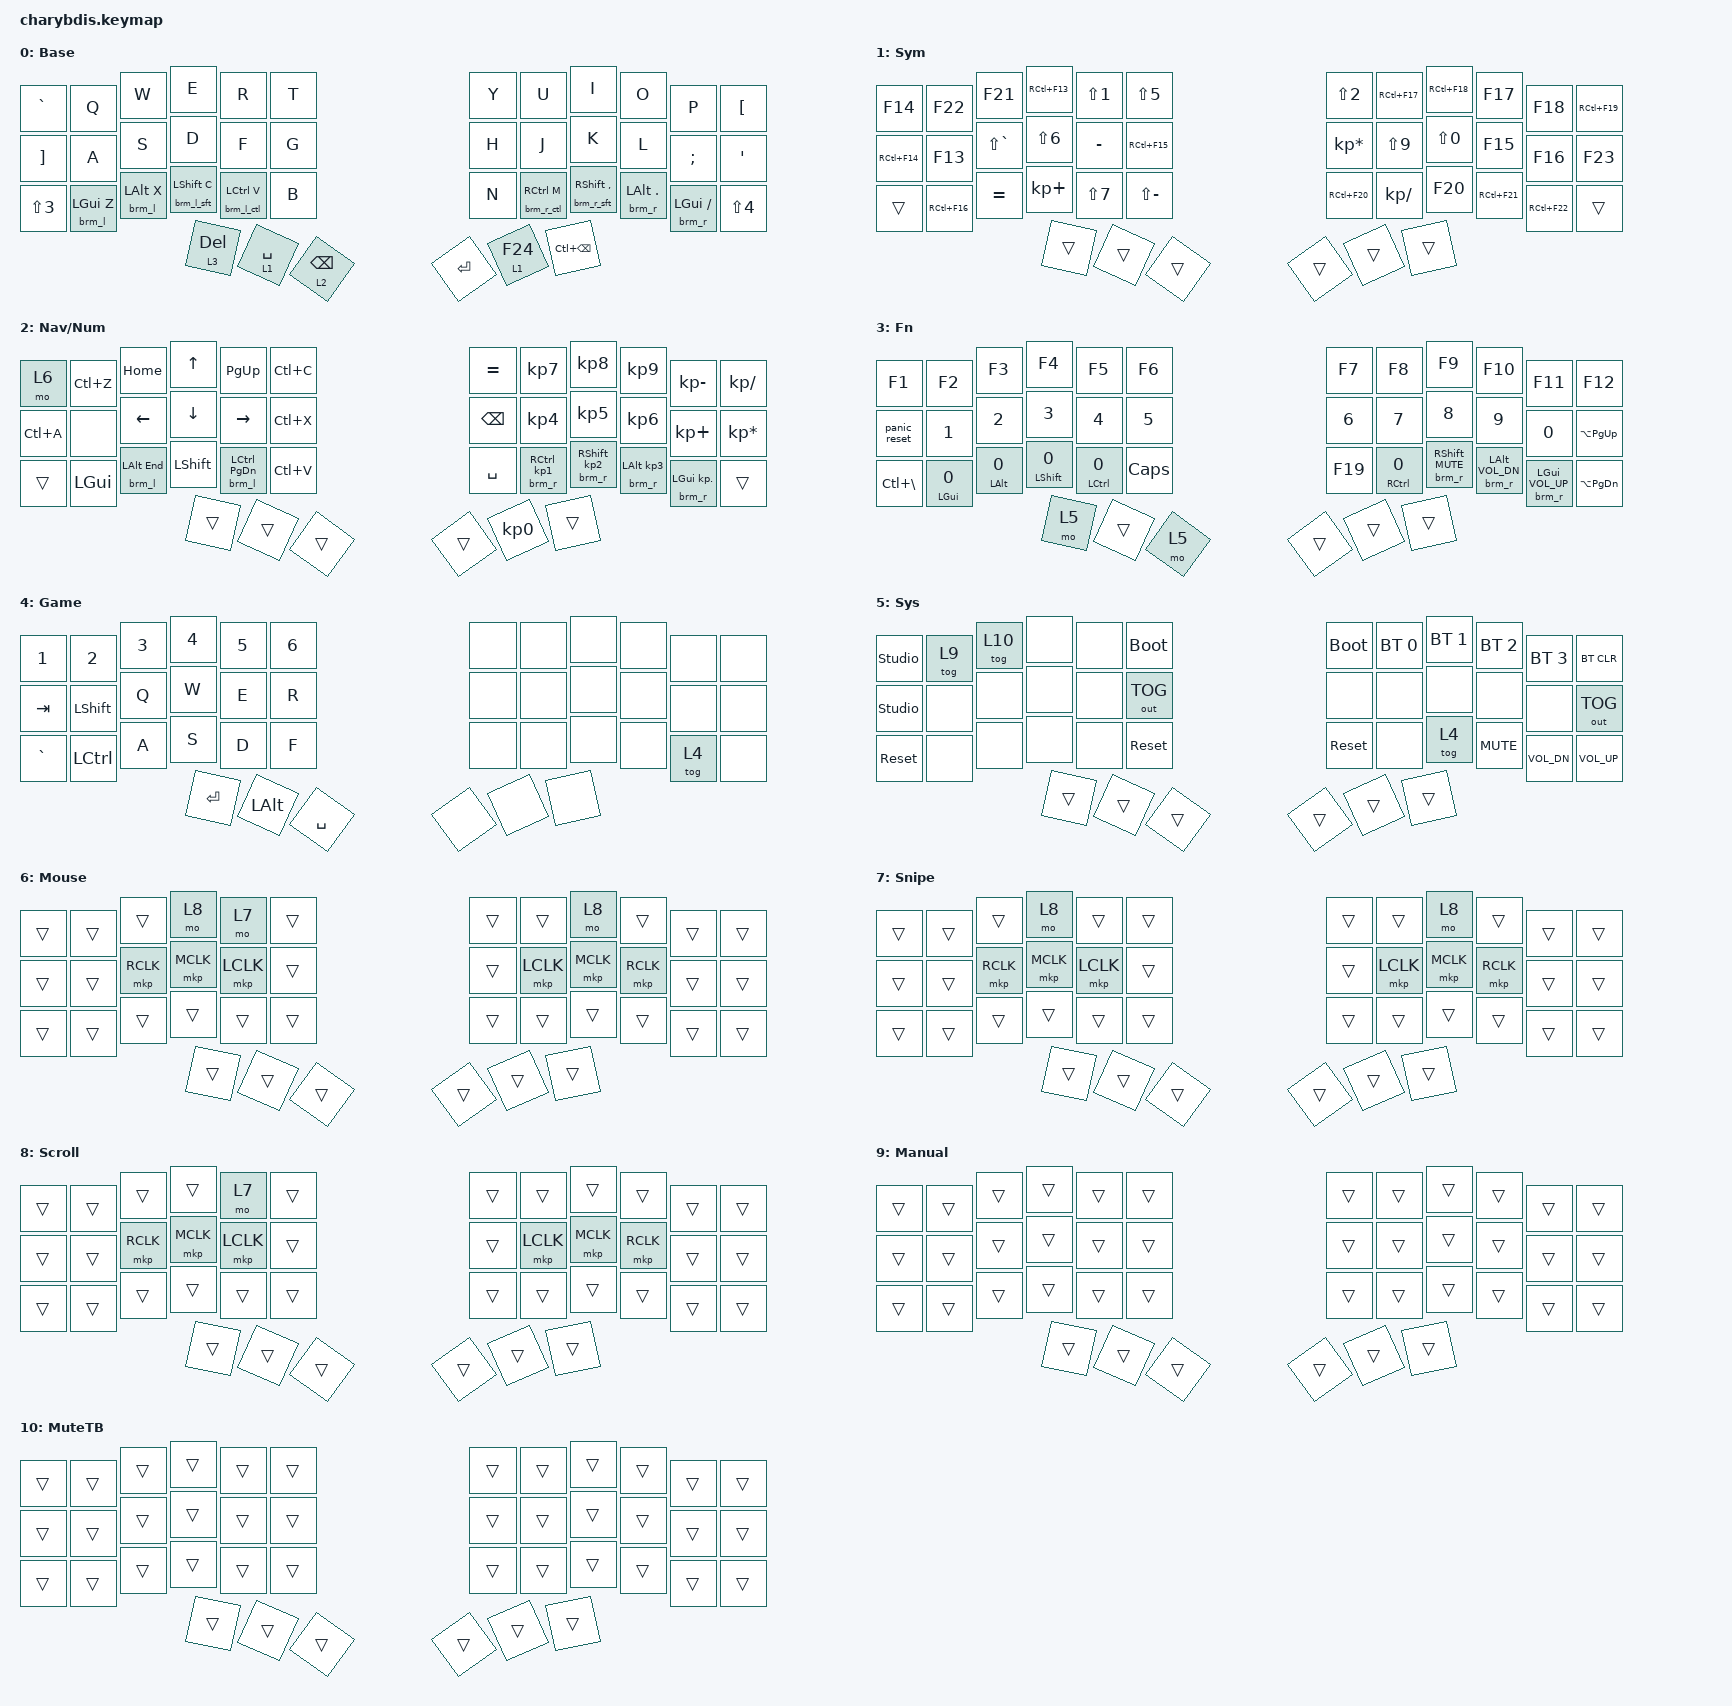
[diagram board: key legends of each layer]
/*
 * =============================================================================
 * Раскладка Charybdis Mini MOD 42-Key (3x6 + 3L/3R Thumbs, V&Z-MINI36M)
 * Перенос конфигурации с Corne V4 (Foostan Corne.vil + AHK v2)
 *
 * Карта индексов 42 клавиш:
 * ╭──────┬──────┬──────┬──────┬──────┬──────╮   ╭──────┬──────┬──────┬──────┬──────┬──────╮
 * │  00  │  01  │  02  │  03  │  04  │  05  │   │  06  │  07  │  08  │  09  │  10  │  11  │
 * ├──────┼──────┼──────┼──────┼──────┼──────┤   ├──────┼──────┼──────┼──────┼──────┼──────┤
 * │  12  │  13  │  14  │  15  │  16  │  17  │   │  18  │  19  │  20  │  21  │  22  │  23  │
 * ├──────┼──────┼──────┼──────┼──────┼──────┤   ├──────┼──────┼──────┼──────┼──────┼──────┤
 * │  24  │  25  │  26  │  27  │  28  │  29  │   │  30  │  31  │  32  │  33  │  34  │  35  │
 * ╰──────┴──────┴──────┼──────┼──────┼──────┤   ├──────┼──────┼──────┼──────┴──────┴──────╯
 *                      │  36  │  37  │  38  │   │  39  │  40  │  41  │
 *                      ╰──────┴──────┴──────╯   ╰──────┴──────┴──────╯
 */

#include <behaviors.dtsi>
#include <dt-bindings/zmk/bt.h>
#include <dt-bindings/zmk/ext_power.h>
#include <dt-bindings/zmk/keys.h>
#include <dt-bindings/zmk/outputs.h>
#include <dt-bindings/zmk/pointing.h>

/* Номера слоёв */
#define L_BASE         0
#define L_SYM          1
#define L_NAV          2
#define L_FN           3
#define L_GAME         4
#define L_SYS          5
#define L_MOUSE        6
#define L_SNIPE        7
#define L_SCROLL       8
#define L_MANUAL_MOUSE 9
#define L_MUTE_TB      10

#include "keymap_features/behaviors.dtsi"
#include "keymap_features/macros.dtsi"
#include "keymap_features/combos.dtsi"

/* Подключаем конвейер трекбола (Auto-Mouse + 2D Scroll + Snipe) только на Central */
#if !defined(CONFIG_ZMK_SPLIT) || defined(CONFIG_ZMK_SPLIT_ROLE_CENTRAL)
#include "charybdis_pointer.dtsi"
#endif

/ {
    keymap {
        compatible = "zmk,keymap";

        /* ── 0: BASE — Основной слой (QWERTY / Вестник через MSKLC + Bilateral BRM) ── */
        base_layer {
            display-name = "Base";
            bindings = <
                &kp GRAVE   &kp Q         &kp W         &kp E              &kp R              &kp T        &kp Y        &kp U              &kp I              &kp O         &kp P            &kp LBKT
                &kp RBKT    &kp A         &kp S         &kp D              &kp F              &kp G        &kp H        &kp J              &kp K              &kp L         &kp SEMI         &kp SQT
                &kp LS(N3)  &brm_l LGUI Z &brm_l LALT X &brm_l_sft LSHFT C &brm_l_ctl LCTRL V &kp B        &kp N        &brm_r_ctl RCTRL M &brm_r_sft RSHFT COMMA &brm_r LALT DOT &brm_r LGUI FSLH &kp LS(N4)
                                                        &lt 3 DEL          &lt 1 SPACE        &lt 2 BSPC   &kp RET      &lt 1 F24          &kp LC(BSPC)
            >;
        };

        /* ── 1: SYM — Символьный слой («Символьный слой фактический ввод», 0 Alt-кодов!) ── */
        sym_layer {
            display-name = "Sym";
            bindings = <
                &kp F14      &kp F22     &kp F21       &kp RC(F13)  &kp LS(N1)  &kp LS(N5)        &kp LS(N2)       &kp RC(F17)  &kp RC(F18)  &kp F17      &kp F18      &kp RC(F19)
                &kp RC(F14)  &kp F13     &kp LS(GRAVE) &kp LS(N6)   &kp MINUS   &kp RC(F15)       &kp KP_MULTIPLY  &kp LS(N9)   &kp LS(N0)   &kp F15      &kp F16      &kp F23
                &trans       &kp RC(F16) &kp EQUAL     &kp KP_PLUS  &kp LS(N7)  &kp LS(MINUS)     &kp RC(F20)      &kp KP_SLASH &kp F20      &kp RC(F21)  &kp RC(F22)  &trans
                                                       &trans       &trans      &trans            &trans           &trans       &trans
            >;
        };

        /* ── 2: NAV — Навигация и Numpad (Top-Left = &mo 6 для ручного режима мыши!) ── */
        nav_layer {
            display-name = "Nav/Num";
            bindings = <
                &mo 6       &kp LC(Z)  &kp HOME        &kp UP       &kp PG_UP           &kp LC(C)    &kp EQUAL  &kp KP_N7           &kp KP_N8           &kp KP_N9          &kp KP_MINUS        &kp KP_SLASH
                &kp LC(A)   &none      &kp LEFT        &kp DOWN     &kp RIGHT           &kp LC(X)    &kp BSPC   &kp KP_N4           &kp KP_N5           &kp KP_N6          &kp KP_PLUS         &kp KP_ASTERISK
                &trans      &kp LGUI   &brm_l LALT END &kp LSHFT    &brm_l LCTRL PG_DN  &kp LC(V)    &kp SPACE  &brm_r RCTRL KP_N1  &brm_r RSHFT KP_N2  &brm_r LALT KP_N3  &brm_r LGUI KP_DOT  &trans
                                                       &trans       &trans              &trans       &trans     &kp KP_N0           &trans
            >;
        };

        /* ── 3: FN — F1..F12, цифры, медиа, BRM и Клавиша паники (&panic_reset на поз. 12) ── */
        fn_layer {
            display-name = "Fn";
            bindings = <
                &kp F1        &kp F2          &kp F3          &kp F4           &kp F5          &kp F6       &kp F7   &kp F8            &kp F9      &kp F10                 &kp F11                 &kp F12
                &panic_reset  &kp N1          &kp N2          &kp N3           &kp N4          &kp N5       &kp N6   &kp N7            &kp N8      &kp N9                  &kp N0                  &kp LA(PG_UP)
                &kp LC(BSLH)  &ht_none LGUI 0 &ht_none LALT 0 &ht_none LSHFT 0 &ht_none LCTRL 0 &kp CAPS    &kp F19  &ht_none RCTRL 0  &brm_r RSHFT C_MUTE  &brm_r LALT C_VOL_DN    &brm_r LGUI C_VOL_UP    &kp LA(PG_DN)
                                                              &mo 5            &trans          &mo 5        &trans   &trans            &trans
            >;
        };

        /* ── 4: GAME — Чистый игровой слой (из Foostan Corne.vil Layer 4) ── */
        game_layer {
            display-name = "Game";
            bindings = <
                &kp N1     &kp N2     &kp N3  &kp N4  &kp N5  &kp N6      &none  &none  &none  &none  &none   &none
                &kp TAB    &kp LSHFT  &kp Q   &kp W   &kp E   &kp R       &none  &none  &none  &none  &none   &none
                &kp GRAVE  &kp LCTRL  &kp A   &kp S   &kp D   &kp F       &none  &none  &none  &none  &tog 4  &none
                                              &kp RET &kp LALT &kp SPACE  &none  &none  &none
            >;
        };

        /* ── 5: SYS — Служебный слой (Bluetooth, Bootloader, Reset, Studio Unlock) ── */
        sys_layer {
            display-name = "Sys";
            bindings = <
                &studio_unlock  &tog 9 &tog 10 &none  &none  &bootloader    &bootloader  &bt BT_SEL 0  &bt BT_SEL 1  &bt BT_SEL 2  &bt BT_SEL 3  &bt BT_CLR
                &studio_unlock  &none  &none  &none  &none  &out OUT_TOG   &none        &none         &none         &none         &none         &out OUT_TOG
                &sys_reset      &none  &none  &none  &none  &sys_reset     &sys_reset   &none         &tog 4        &kp C_MUTE    &kp C_VOL_DN  &kp C_VOL_UP
                                              &trans &trans &trans         &trans       &trans        &trans
            >;
        };

        /* ── 6: MOUSE — Слой Auto-Mouse (кнопки SDF и JKL, E/I = Scroll, R = Snipe) ── */
        mouse_layer {
            display-name = "Mouse";
            bindings = <
                &trans  &trans  &trans     &mo 8      &mo 7      &trans      &trans  &trans     &mo 8      &trans     &trans  &trans
                &trans  &trans  &mkp RCLK  &mkp MCLK  &mkp LCLK  &trans      &trans  &mkp LCLK  &mkp MCLK  &mkp RCLK  &trans  &trans
                &trans  &trans  &trans     &trans     &trans     &trans      &trans  &trans     &trans     &trans     &trans  &trans
                                           &trans     &trans     &trans      &trans  &trans     &trans
            >;
        };

        /* ── 7: SNIPE — Точное прицеливание (замедление курсора 1:3, E/I = Scroll) ── */
        snipe_layer {
            display-name = "Snipe";
            bindings = <
                &trans  &trans  &trans     &mo 8      &trans     &trans      &trans  &trans     &mo 8      &trans     &trans  &trans
                &trans  &trans  &mkp RCLK  &mkp MCLK  &mkp LCLK  &trans      &trans  &mkp LCLK  &mkp MCLK  &mkp RCLK  &trans  &trans
                &trans  &trans  &trans     &trans     &trans     &trans      &trans  &trans     &trans     &trans     &trans  &trans
                                           &trans     &trans     &trans      &trans  &trans     &trans
            >;
        };

        /* ── 8: SCROLL — Двумерная прокрутка шаром трекбола ── */
        scroll_layer {
            display-name = "Scroll";
            bindings = <
                &trans  &trans  &trans     &trans     &mo 7      &trans      &trans  &trans     &trans     &trans     &trans  &trans
                &trans  &trans  &mkp RCLK  &mkp MCLK  &mkp LCLK  &trans      &trans  &mkp LCLK  &mkp MCLK  &mkp RCLK  &trans  &trans
                &trans  &trans  &trans     &trans     &trans     &trans      &trans  &trans     &trans     &trans     &trans  &trans
                                           &trans     &trans     &trans      &trans  &trans     &trans
            >;
        };

        /* ── 9: MANUAL_MOUSE — Ручной режим мыши (Auto-Mouse выключен) ── */
        manual_mouse_layer {
            display-name = "Manual";
            bindings = <
                &trans  &trans  &trans  &trans  &trans  &trans      &trans  &trans  &trans  &trans  &trans  &trans
                &trans  &trans  &trans  &trans  &trans  &trans      &trans  &trans  &trans  &trans  &trans  &trans
                &trans  &trans  &trans  &trans  &trans  &trans      &trans  &trans  &trans  &trans  &trans  &trans
                                        &trans  &trans  &trans      &trans  &trans  &trans
            >;
        };

        /* ── 10: MUTE_TB — Трекбол полностью выключен ── */
        mute_trackball_layer {
            display-name = "MuteTB";
            bindings = <
                &trans  &trans  &trans  &trans  &trans  &trans      &trans  &trans  &trans  &trans  &trans  &trans
                &trans  &trans  &trans  &trans  &trans  &trans      &trans  &trans  &trans  &trans  &trans  &trans
                &trans  &trans  &trans  &trans  &trans  &trans      &trans  &trans  &trans  &trans  &trans  &trans
                                        &trans  &trans  &trans      &trans  &trans  &trans
            >;
        };

        /* ── Резервные слои для ZMK Studio ── */
        extra1 { status = "reserved"; };
    };
};
